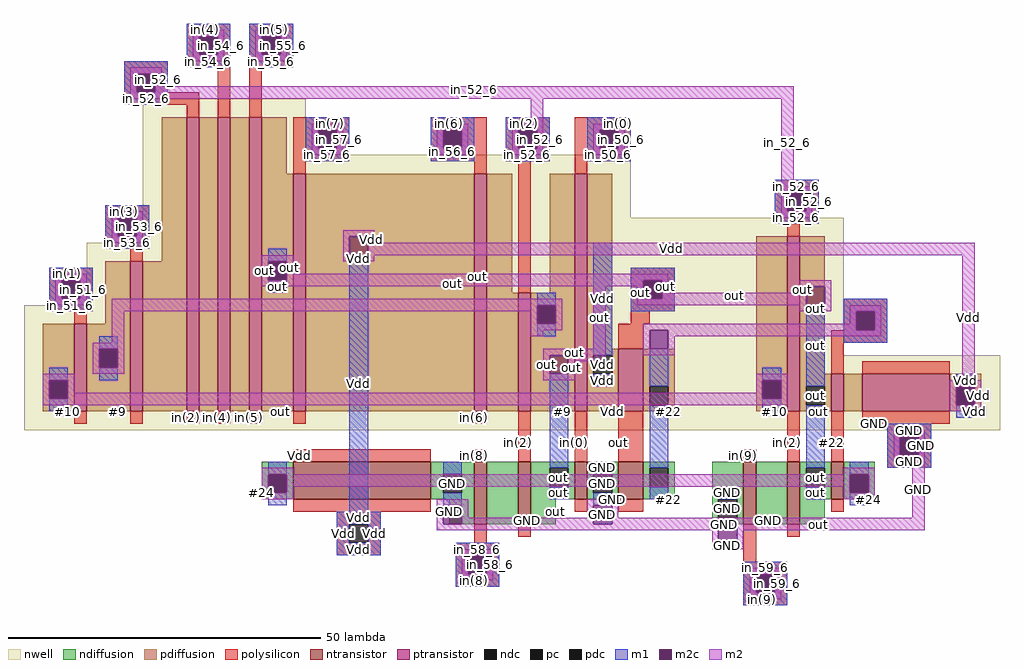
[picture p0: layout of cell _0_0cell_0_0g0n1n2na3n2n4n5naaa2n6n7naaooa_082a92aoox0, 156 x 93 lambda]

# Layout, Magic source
magic
tech sky130l
<< nwell >>
rect 24 77 50 86
rect 24 67 102 77
rect 24 63 136 67
rect 15 53 136 63
rect 5 45 136 53
rect 5 33 161 45
<< ndiffusion >>
rect 43 26 48 28
rect 43 23 44 26
rect 47 23 48 26
rect 43 22 48 23
rect 70 26 77 28
rect 70 23 72 26
rect 75 23 77 26
rect 70 22 77 23
rect 73 18 77 22
rect 79 18 84 28
rect 86 27 93 28
rect 86 24 89 27
rect 92 24 93 27
rect 86 22 93 24
rect 95 26 100 28
rect 95 23 96 26
rect 99 23 100 26
rect 95 22 100 23
rect 104 27 109 28
rect 104 24 105 27
rect 108 24 109 27
rect 104 22 109 24
rect 115 22 120 28
rect 86 18 90 22
rect 115 19 116 22
rect 119 19 120 22
rect 115 18 120 19
rect 122 18 127 28
rect 129 27 134 28
rect 129 24 130 27
rect 133 24 134 27
rect 129 22 134 24
rect 136 26 141 28
rect 136 23 137 26
rect 140 23 141 26
rect 136 22 141 23
rect 129 18 133 22
<< ndc >>
rect 44 23 47 26
rect 72 23 75 26
rect 89 24 92 27
rect 96 23 99 26
rect 105 24 108 27
rect 116 19 119 22
rect 130 24 133 27
rect 137 23 140 26
<< ntransistor >>
rect 48 22 70 28
rect 77 18 79 28
rect 84 18 86 28
rect 93 22 95 28
rect 100 22 104 28
rect 120 18 122 28
rect 127 18 129 28
rect 134 22 136 28
<< pdiffusion >>
rect 27 60 31 83
rect 18 50 22 60
rect 8 41 13 50
rect 8 38 9 41
rect 12 38 13 41
rect 8 36 13 38
rect 15 46 22 50
rect 15 43 17 46
rect 20 43 22 46
rect 15 36 22 43
rect 24 36 31 60
rect 33 36 36 83
rect 38 36 41 83
rect 43 74 47 83
rect 43 60 48 74
rect 43 57 44 60
rect 47 57 48 60
rect 43 36 48 57
rect 50 36 77 74
rect 79 55 83 74
rect 89 55 93 74
rect 79 36 84 55
rect 86 53 93 55
rect 86 50 87 53
rect 90 50 93 53
rect 86 36 93 50
rect 95 46 99 74
rect 95 45 100 46
rect 95 42 96 45
rect 99 42 100 45
rect 95 36 100 42
rect 104 40 109 46
rect 104 37 105 40
rect 108 37 109 40
rect 104 36 109 37
rect 122 41 127 64
rect 122 38 123 41
rect 126 38 127 41
rect 122 36 127 38
rect 129 42 133 64
rect 129 40 134 42
rect 129 37 130 40
rect 133 37 134 40
rect 129 36 134 37
rect 136 36 139 42
rect 153 40 158 42
rect 153 37 154 40
rect 157 37 158 40
rect 153 36 158 37
<< pdc >>
rect 9 38 12 41
rect 17 43 20 46
rect 44 57 47 60
rect 87 50 90 53
rect 96 42 99 45
rect 105 37 108 40
rect 123 38 126 41
rect 130 37 133 40
rect 154 37 157 40
<< ptransistor >>
rect 13 36 15 50
rect 22 36 24 60
rect 31 36 33 83
rect 36 36 38 83
rect 41 36 43 83
rect 48 36 50 74
rect 77 36 79 74
rect 84 36 86 55
rect 93 36 95 74
rect 100 36 104 46
rect 127 36 129 64
rect 134 36 136 42
rect 139 36 153 42
<< polysilicon >>
rect 31 96 38 98
rect 31 93 33 96
rect 36 93 38 96
rect 21 90 28 92
rect 31 91 38 93
rect 21 87 23 90
rect 26 87 28 90
rect 21 85 33 87
rect 31 83 33 85
rect 36 83 38 91
rect 41 96 48 98
rect 41 93 43 96
rect 46 93 48 96
rect 41 91 48 93
rect 41 83 43 91
rect 18 67 25 69
rect 18 64 20 67
rect 23 64 25 67
rect 18 62 25 64
rect 22 60 24 62
rect 9 57 16 59
rect 9 54 11 57
rect 14 54 16 57
rect 9 52 16 54
rect 13 50 15 52
rect 48 81 57 83
rect 48 78 52 81
rect 55 78 57 81
rect 48 76 57 78
rect 70 81 79 83
rect 70 78 72 81
rect 75 78 79 81
rect 70 76 79 78
rect 82 81 89 83
rect 82 78 84 81
rect 87 78 89 81
rect 82 76 89 78
rect 93 81 102 83
rect 93 78 97 81
rect 100 78 102 81
rect 93 76 102 78
rect 48 74 50 76
rect 77 74 79 76
rect 84 55 86 76
rect 93 74 95 76
rect 125 71 132 73
rect 125 68 127 71
rect 130 68 132 71
rect 125 66 132 68
rect 127 64 129 66
rect 102 57 109 59
rect 102 54 104 57
rect 107 54 109 57
rect 102 52 109 54
rect 102 50 105 52
rect 100 46 104 50
rect 136 52 143 54
rect 136 49 138 52
rect 141 49 143 52
rect 134 47 143 49
rect 134 42 136 47
rect 139 42 153 44
rect 13 34 15 36
rect 22 34 24 36
rect 31 34 33 36
rect 36 34 38 36
rect 41 34 43 36
rect 48 34 50 36
rect 77 34 79 36
rect 48 28 70 30
rect 77 28 79 30
rect 84 28 86 36
rect 93 28 95 36
rect 100 28 104 36
rect 120 28 122 30
rect 127 28 129 36
rect 134 28 136 36
rect 139 34 153 36
rect 143 32 150 34
rect 143 29 145 32
rect 148 29 150 32
rect 48 20 70 22
rect 55 18 62 20
rect 93 20 95 22
rect 100 20 104 22
rect 143 27 150 29
rect 134 20 136 22
rect 55 15 57 18
rect 60 15 62 18
rect 77 15 79 18
rect 84 16 86 18
rect 55 13 62 15
rect 74 13 81 15
rect 74 10 76 13
rect 79 10 81 13
rect 74 8 81 10
rect 120 12 122 18
rect 127 16 129 18
rect 120 10 127 12
rect 120 7 122 10
rect 125 7 127 10
rect 120 5 127 7
<< pc >>
rect 33 93 36 96
rect 23 87 26 90
rect 43 93 46 96
rect 20 64 23 67
rect 11 54 14 57
rect 52 78 55 81
rect 72 78 75 81
rect 84 78 87 81
rect 97 78 100 81
rect 127 68 130 71
rect 104 54 107 57
rect 138 49 141 52
rect 145 29 148 32
rect 57 15 60 18
rect 76 10 79 13
rect 122 7 125 10
<< m1 >>
rect 31 96 38 98
rect 31 93 33 96
rect 36 93 38 96
rect 21 90 28 92
rect 31 91 38 93
rect 41 96 48 98
rect 41 93 43 96
rect 46 93 48 96
rect 41 91 48 93
rect 21 87 23 90
rect 26 87 28 90
rect 21 85 28 87
rect 50 81 57 83
rect 50 78 52 81
rect 55 78 57 81
rect 50 76 57 78
rect 70 81 77 83
rect 70 78 72 81
rect 75 78 77 81
rect 70 76 77 78
rect 82 81 89 83
rect 82 78 84 81
rect 87 78 89 81
rect 82 76 89 78
rect 95 81 102 83
rect 95 78 97 81
rect 100 78 102 81
rect 95 76 102 78
rect 125 71 132 73
rect 18 67 25 69
rect 18 64 20 67
rect 23 64 25 67
rect 125 68 127 71
rect 130 68 132 71
rect 125 66 132 68
rect 18 62 25 64
rect 44 60 47 62
rect 9 57 16 59
rect 9 54 11 57
rect 14 54 16 57
rect 44 55 47 57
rect 9 52 16 54
rect 17 46 20 48
rect 9 41 12 43
rect 17 41 20 43
rect 9 36 12 38
rect 44 26 47 28
rect 44 21 47 23
rect 57 20 60 61
rect 87 53 90 55
rect 87 48 90 50
rect 96 45 99 63
rect 102 57 109 59
rect 102 54 104 57
rect 107 54 109 57
rect 102 52 109 54
rect 72 26 75 28
rect 72 21 75 23
rect 89 27 92 42
rect 96 40 99 42
rect 105 40 108 46
rect 89 22 92 24
rect 96 26 99 28
rect 55 18 62 20
rect 96 21 99 23
rect 105 27 108 37
rect 123 41 126 43
rect 123 36 126 38
rect 130 40 133 53
rect 136 52 143 54
rect 136 49 138 52
rect 141 49 143 52
rect 136 47 143 49
rect 130 27 133 37
rect 154 40 157 42
rect 154 35 157 37
rect 143 32 150 34
rect 143 29 145 32
rect 148 29 150 32
rect 105 22 108 24
rect 116 22 119 24
rect 130 22 133 24
rect 137 26 140 28
rect 143 27 150 29
rect 137 21 140 23
rect 116 18 119 19
rect 55 15 57 18
rect 60 15 62 18
rect 55 13 62 15
rect 74 13 81 15
rect 74 10 76 13
rect 79 10 81 13
rect 74 8 81 10
rect 120 10 127 12
rect 120 7 122 10
rect 125 7 127 10
rect 120 5 127 7
<< m2c >>
rect 33 93 36 96
rect 43 93 46 96
rect 23 87 26 90
rect 52 78 55 81
rect 72 78 75 81
rect 84 78 87 81
rect 97 78 100 81
rect 20 64 23 67
rect 127 68 130 71
rect 11 54 14 57
rect 44 57 47 60
rect 57 61 60 64
rect 17 43 20 46
rect 9 38 12 41
rect 44 23 47 26
rect 87 50 90 53
rect 104 54 107 57
rect 130 53 133 56
rect 89 42 92 45
rect 105 46 108 49
rect 72 18 75 21
rect 123 38 126 41
rect 138 49 141 52
rect 154 37 157 40
rect 145 29 148 32
rect 137 23 140 26
rect 96 18 99 21
rect 116 15 119 18
rect 76 10 79 13
rect 122 7 125 10
<< m2 >>
rect 32 96 37 97
rect 32 93 33 96
rect 36 93 37 96
rect 32 92 37 93
rect 42 96 47 97
rect 42 93 43 96
rect 46 93 47 96
rect 42 92 47 93
rect 22 90 27 91
rect 22 87 23 90
rect 26 88 27 90
rect 26 87 128 88
rect 22 86 128 87
rect 86 82 88 86
rect 51 81 56 82
rect 51 78 52 81
rect 55 78 56 81
rect 51 77 56 78
rect 71 81 76 82
rect 71 78 72 81
rect 75 78 76 81
rect 71 77 76 78
rect 83 81 88 82
rect 83 78 84 81
rect 87 78 88 81
rect 83 77 88 78
rect 96 81 101 82
rect 96 78 97 81
rect 100 78 101 81
rect 96 77 101 78
rect 126 72 128 86
rect 126 71 131 72
rect 126 68 127 71
rect 130 68 131 71
rect 19 67 24 68
rect 126 67 131 68
rect 19 64 20 67
rect 23 64 24 67
rect 19 63 24 64
rect 56 64 61 65
rect 56 61 57 64
rect 60 63 61 64
rect 60 61 157 63
rect 43 60 48 61
rect 56 60 61 61
rect 10 57 15 58
rect 10 54 11 57
rect 14 54 15 57
rect 43 57 44 60
rect 47 58 48 60
rect 47 57 108 58
rect 43 56 104 57
rect 10 53 15 54
rect 19 53 91 54
rect 19 52 87 53
rect 19 47 21 52
rect 86 50 87 52
rect 90 50 91 53
rect 86 49 91 50
rect 86 48 88 49
rect 16 46 21 47
rect 96 46 98 56
rect 103 54 104 56
rect 107 55 108 57
rect 129 56 134 57
rect 129 55 130 56
rect 107 54 130 55
rect 103 53 130 54
rect 133 53 134 56
rect 129 52 134 53
rect 137 52 142 53
rect 137 50 138 52
rect 16 43 17 46
rect 20 43 21 46
rect 16 42 21 43
rect 88 45 98 46
rect 104 49 138 50
rect 141 49 142 52
rect 104 46 105 49
rect 108 48 142 49
rect 108 46 109 48
rect 104 45 109 46
rect 88 42 89 45
rect 92 44 98 45
rect 92 42 93 44
rect 8 41 13 42
rect 88 41 93 42
rect 122 41 127 42
rect 155 41 157 61
rect 8 38 9 41
rect 12 39 13 41
rect 122 39 123 41
rect 12 38 123 39
rect 126 38 127 41
rect 8 37 127 38
rect 153 40 158 41
rect 153 37 154 40
rect 157 37 158 40
rect 153 36 158 37
rect 144 32 149 33
rect 144 29 145 32
rect 148 29 149 32
rect 144 28 149 29
rect 43 26 48 27
rect 136 26 141 27
rect 43 23 44 26
rect 47 24 137 26
rect 47 23 48 24
rect 43 22 48 23
rect 136 23 137 24
rect 140 23 141 26
rect 136 22 141 23
rect 71 21 76 22
rect 71 18 72 21
rect 75 19 76 21
rect 95 21 100 22
rect 95 19 96 21
rect 75 18 96 19
rect 99 19 100 21
rect 147 19 149 28
rect 99 18 149 19
rect 71 17 116 18
rect 115 15 116 17
rect 119 17 149 18
rect 119 15 120 17
rect 115 14 120 15
rect 75 13 80 14
rect 75 10 76 13
rect 79 10 80 13
rect 75 9 80 10
rect 121 10 126 11
rect 121 7 122 10
rect 125 7 126 10
rect 121 6 126 7
<< labels >>
flabel polysilicon 49 29 49 29 1 FreeSerif 8 0 0 0 Vdd
flabel ndiffusion 43 23 43 23 3 FreeSerif 8 0 0 0 #24
flabel ndiffusion 73 20 73 20 3 FreeSerif 8 0 0 0 GND
flabel polysilicon 77 29 77 29 3 FreeSerif 8 0 0 0 in(8)
flabel polysilicon 77 35 77 35 3 FreeSerif 8 0 0 0 in(6)
flabel ndiffusion 90 20 90 20 7 FreeSerif 8 0 0 0 out
flabel ndiffusion 108 22 108 22 1 FreeSerif 8 0 0 0 #22
flabel ndiffusion 99 22 99 22 1 FreeSerif 8 0 0 0 GND
flabel ndiffusion 117 18 117 18 1 FreeSerif 8 0 0 0 GND
flabel ndiffusion 132 18 132 18 1 FreeSerif 8 0 0 0 out
flabel ndiffusion 140 22 140 22 1 FreeSerif 8 0 0 0 #24
flabel pdiffusion 157 36 157 36 1 FreeSerif 8 0 0 0 Vdd
flabel polysilicon 141 34 141 34 1 FreeSerif 8 0 0 0 GND
flabel polysilicon 134 31 134 31 3 FreeSerif 8 0 0 0 #22
flabel polysilicon 127 31 127 31 3 FreeSerif 8 0 0 0 in(2)
flabel pdiffusion 132 36 132 36 1 FreeSerif 8 0 0 0 out
flabel pdiffusion 125 36 125 36 1 FreeSerif 8 0 0 0 #10
flabel polysilicon 120 29 120 29 1 FreeSerif 8 0 0 0 in(9)
flabel polysilicon 84 31 84 31 3 FreeSerif 8 0 0 0 in(2)
flabel polysilicon 93 31 93 31 3 FreeSerif 8 0 0 0 in(0)
flabel polysilicon 100 31 100 31 3 FreeSerif 8 0 0 0 out
flabel pdiffusion 108 36 108 36 1 FreeSerif 8 0 0 0 #22
flabel pdiffusion 99 36 99 36 1 FreeSerif 8 0 0 0 Vdd
flabel pdiffusion 91 36 91 36 1 FreeSerif 8 0 0 0 #9
flabel pdiffusion 46 36 46 36 1 FreeSerif 8 0 0 0 out
flabel pdiffusion 20 36 20 36 1 FreeSerif 8 0 0 0 #9
flabel pdiffusion 12 36 12 36 1 FreeSerif 8 0 0 0 #10
flabel polysilicon 31 35 31 35 3 FreeSerif 8 0 0 0 in(2)
flabel polysilicon 36 35 36 35 3 FreeSerif 8 0 0 0 in(4)
flabel polysilicon 41 35 41 35 3 FreeSerif 8 0 0 0 in(5)
flabel polysilicon 48 35 48 35 3 FreeSerif 8 0 0 0 in(7)
flabel polysilicon 13 35 13 35 3 FreeSerif 8 0 0 0 in(1)
flabel polysilicon 22 35 22 35 3 FreeSerif 8 0 0 0 in(3)
flabel m2 77 9 77 9 5 FreeSerif 8 0 0 0 in(8)
port 4 s
flabel m2 12 58 12 58 1 FreeSerif 8 0 0 0 in(1)
port 11 n
flabel m2 21 68 21 68 1 FreeSerif 8 0 0 0 in(3)
port 9 n
flabel m2 34 97 34 97 1 FreeSerif 8 0 0 0 in(4)
port 8 n
flabel m2 45 97 45 97 1 FreeSerif 8 0 0 0 in(5)
port 7 n
flabel m2 123 6 123 6 5 FreeSerif 8 0 0 0 in(9)
port 3 s
flabel m2 85 82 85 82 1 FreeSerif 8 0 0 0 in(2)
port 10 n
flabel m2 s 129 55 130 56 1 FreeSerif 8 0 0 0 out
port 12 nsew signal output
flabel m2 s 157 37 158 40 3 FreeSerif 8 0 0 0 Vdd
port 2 nsew power input
flabel m2 54 82 54 82 1 FreeSerif 8 0 0 0 in(7)
port 5 n
flabel m2 73 82 73 82 1 FreeSerif 8 0 0 0 in(6)
port 6 n
flabel m2 100 82 100 82 1 FreeSerif 8 0 0 0 in(0)
port 13 n
flabel m2 s 148 29 149 32 5 FreeSerif 8 0 0 0 GND
port 1 nsew ground input
rlabel m2 s 100 78 101 81 1 in_50_6
port 1 nsew signal input
rlabel m2 s 97 78 100 81 1 in_50_6
port 1 nsew signal input
rlabel m2 s 96 78 97 81 1 in_50_6
port 1 nsew signal input
rlabel m2 s 96 77 101 78 1 in_50_6
port 1 nsew signal input
rlabel m2 s 96 81 101 82 1 in_50_6
port 1 nsew signal input
rlabel m1 s 100 78 102 81 1 in_50_6
port 1 nsew signal input
rlabel m1 s 97 78 100 81 1 in_50_6
port 1 nsew signal input
rlabel m1 s 95 76 102 78 1 in_50_6
port 1 nsew signal input
rlabel m1 s 95 78 97 81 1 in_50_6
port 1 nsew signal input
rlabel m1 s 95 81 102 83 1 in_50_6
port 1 nsew signal input
rlabel m2 s 14 54 15 57 1 in_51_6
port 2 nsew signal input
rlabel m2 s 11 54 14 57 1 in_51_6
port 2 nsew signal input
rlabel m2 s 10 53 15 54 1 in_51_6
port 2 nsew signal input
rlabel m2 s 10 54 11 57 3 in_51_6
port 2 nsew signal input
rlabel m2 s 10 57 15 58 1 in_51_6
port 2 nsew signal input
rlabel m1 s 14 54 16 57 1 in_51_6
port 2 nsew signal input
rlabel m1 s 11 54 14 57 1 in_51_6
port 2 nsew signal input
rlabel m1 s 9 52 16 54 1 in_51_6
port 2 nsew signal input
rlabel m1 s 9 54 11 57 3 in_51_6
port 2 nsew signal input
rlabel m1 s 9 57 16 59 1 in_51_6
port 2 nsew signal input
rlabel m2 s 130 68 131 71 1 in_52_6
port 3 nsew signal input
rlabel m2 s 127 68 130 71 1 in_52_6
port 3 nsew signal input
rlabel m2 s 87 78 88 81 1 in_52_6
port 3 nsew signal input
rlabel m2 s 126 67 131 68 1 in_52_6
port 3 nsew signal input
rlabel m2 s 126 68 127 71 1 in_52_6
port 3 nsew signal input
rlabel m2 s 126 71 131 72 1 in_52_6
port 3 nsew signal input
rlabel m2 s 126 72 128 86 1 in_52_6
port 3 nsew signal input
rlabel m2 s 84 78 87 81 1 in_52_6
port 3 nsew signal input
rlabel m2 s 83 77 88 78 1 in_52_6
port 3 nsew signal input
rlabel m2 s 83 78 84 81 1 in_52_6
port 3 nsew signal input
rlabel m2 s 86 82 88 86 1 in_52_6
port 3 nsew signal input
rlabel m2 s 83 81 88 82 1 in_52_6
port 3 nsew signal input
rlabel m2 s 26 87 128 88 1 in_52_6
port 3 nsew signal input
rlabel m2 s 26 88 27 90 1 in_52_6
port 3 nsew signal input
rlabel m2 s 23 87 26 90 1 in_52_6
port 3 nsew signal input
rlabel m2 s 22 86 128 87 1 in_52_6
port 3 nsew signal input
rlabel m2 s 22 87 23 90 1 in_52_6
port 3 nsew signal input
rlabel m2 s 22 90 27 91 1 in_52_6
port 3 nsew signal input
rlabel m1 s 130 68 132 71 1 in_52_6
port 3 nsew signal input
rlabel m1 s 127 68 130 71 1 in_52_6
port 3 nsew signal input
rlabel m1 s 125 66 132 68 1 in_52_6
port 3 nsew signal input
rlabel m1 s 125 68 127 71 1 in_52_6
port 3 nsew signal input
rlabel m1 s 125 71 132 73 1 in_52_6
port 3 nsew signal input
rlabel m1 s 87 78 89 81 1 in_52_6
port 3 nsew signal input
rlabel m1 s 84 78 87 81 1 in_52_6
port 3 nsew signal input
rlabel m1 s 82 78 84 81 1 in_52_6
port 3 nsew signal input
rlabel m1 s 82 76 89 78 1 in_52_6
port 3 nsew signal input
rlabel m1 s 82 81 89 83 1 in_52_6
port 3 nsew signal input
rlabel m1 s 26 87 28 90 1 in_52_6
port 3 nsew signal input
rlabel m1 s 23 87 26 90 1 in_52_6
port 3 nsew signal input
rlabel m1 s 21 85 28 87 1 in_52_6
port 3 nsew signal input
rlabel m1 s 21 87 23 90 1 in_52_6
port 3 nsew signal input
rlabel m1 s 21 90 28 92 1 in_52_6
port 3 nsew signal input
rlabel m2 s 23 64 24 67 1 in_53_6
port 4 nsew signal input
rlabel m2 s 20 64 23 67 1 in_53_6
port 4 nsew signal input
rlabel m2 s 19 63 24 64 1 in_53_6
port 4 nsew signal input
rlabel m2 s 19 64 20 67 1 in_53_6
port 4 nsew signal input
rlabel m2 s 19 67 24 68 1 in_53_6
port 4 nsew signal input
rlabel m1 s 23 64 25 67 1 in_53_6
port 4 nsew signal input
rlabel m1 s 20 64 23 67 1 in_53_6
port 4 nsew signal input
rlabel m1 s 18 62 25 64 1 in_53_6
port 4 nsew signal input
rlabel m1 s 18 64 20 67 1 in_53_6
port 4 nsew signal input
rlabel m1 s 18 67 25 69 1 in_53_6
port 4 nsew signal input
rlabel m2 s 36 93 37 96 5 in_54_6
port 5 nsew signal input
rlabel m2 s 33 93 36 96 5 in_54_6
port 5 nsew signal input
rlabel m2 s 32 92 37 93 1 in_54_6
port 5 nsew signal input
rlabel m2 s 32 93 33 96 5 in_54_6
port 5 nsew signal input
rlabel m2 s 32 96 37 97 5 in_54_6
port 5 nsew signal input
rlabel m1 s 36 93 38 96 5 in_54_6
port 5 nsew signal input
rlabel m1 s 33 93 36 96 5 in_54_6
port 5 nsew signal input
rlabel m1 s 31 91 38 93 1 in_54_6
port 5 nsew signal input
rlabel m1 s 31 93 33 96 5 in_54_6
port 5 nsew signal input
rlabel m1 s 31 96 38 98 5 in_54_6
port 5 nsew signal input
rlabel m2 s 46 93 47 96 5 in_55_6
port 6 nsew signal input
rlabel m2 s 43 93 46 96 5 in_55_6
port 6 nsew signal input
rlabel m2 s 42 93 43 96 5 in_55_6
port 6 nsew signal input
rlabel m2 s 42 92 47 93 1 in_55_6
port 6 nsew signal input
rlabel m2 s 42 96 47 97 5 in_55_6
port 6 nsew signal input
rlabel m1 s 46 93 48 96 5 in_55_6
port 6 nsew signal input
rlabel m1 s 43 93 46 96 5 in_55_6
port 6 nsew signal input
rlabel m1 s 41 93 43 96 5 in_55_6
port 6 nsew signal input
rlabel m1 s 41 91 48 93 1 in_55_6
port 6 nsew signal input
rlabel m1 s 41 96 48 98 5 in_55_6
port 6 nsew signal input
rlabel m2 s 71 77 76 78 1 in_56_6
port 7 nsew signal input
rlabel m2 s 75 78 76 81 1 in_56_6
port 7 nsew signal input
rlabel m2 s 72 78 75 81 1 in_56_6
port 7 nsew signal input
rlabel m2 s 71 78 72 81 1 in_56_6
port 7 nsew signal input
rlabel m2 s 71 81 76 82 1 in_56_6
port 7 nsew signal input
rlabel m1 s 75 78 77 81 1 in_56_6
port 7 nsew signal input
rlabel m1 s 72 78 75 81 1 in_56_6
port 7 nsew signal input
rlabel m1 s 70 78 72 81 1 in_56_6
port 7 nsew signal input
rlabel m1 s 70 76 77 78 1 in_56_6
port 7 nsew signal input
rlabel m1 s 70 81 77 83 1 in_56_6
port 7 nsew signal input
rlabel m2 s 55 78 56 81 1 in_57_6
port 8 nsew signal input
rlabel m2 s 52 78 55 81 1 in_57_6
port 8 nsew signal input
rlabel m2 s 51 77 56 78 1 in_57_6
port 8 nsew signal input
rlabel m2 s 51 78 52 81 1 in_57_6
port 8 nsew signal input
rlabel m2 s 51 81 56 82 1 in_57_6
port 8 nsew signal input
rlabel m1 s 55 78 57 81 1 in_57_6
port 8 nsew signal input
rlabel m1 s 52 78 55 81 1 in_57_6
port 8 nsew signal input
rlabel m1 s 50 76 57 78 1 in_57_6
port 8 nsew signal input
rlabel m1 s 50 78 52 81 1 in_57_6
port 8 nsew signal input
rlabel m1 s 50 81 57 83 1 in_57_6
port 8 nsew signal input
rlabel m2 s 79 10 80 13 1 in_58_6
port 9 nsew signal input
rlabel m2 s 76 10 79 13 1 in_58_6
port 9 nsew signal input
rlabel m2 s 75 9 80 10 1 in_58_6
port 9 nsew signal input
rlabel m2 s 75 10 76 13 1 in_58_6
port 9 nsew signal input
rlabel m2 s 75 13 80 14 1 in_58_6
port 9 nsew signal input
rlabel m1 s 79 10 81 13 1 in_58_6
port 9 nsew signal input
rlabel m1 s 76 10 79 13 1 in_58_6
port 9 nsew signal input
rlabel m1 s 74 8 81 10 1 in_58_6
port 9 nsew signal input
rlabel m1 s 74 10 76 13 1 in_58_6
port 9 nsew signal input
rlabel m1 s 74 13 81 15 1 in_58_6
port 9 nsew signal input
rlabel m2 s 125 7 126 10 1 in_59_6
port 10 nsew signal input
rlabel m2 s 122 7 125 10 1 in_59_6
port 10 nsew signal input
rlabel m2 s 121 6 126 7 1 in_59_6
port 10 nsew signal input
rlabel m2 s 121 7 122 10 1 in_59_6
port 10 nsew signal input
rlabel m2 s 121 10 126 11 1 in_59_6
port 10 nsew signal input
rlabel m1 s 125 7 127 10 1 in_59_6
port 10 nsew signal input
rlabel m1 s 122 7 125 10 1 in_59_6
port 10 nsew signal input
rlabel m1 s 120 5 127 7 1 in_59_6
port 10 nsew signal input
rlabel m1 s 120 7 122 10 1 in_59_6
port 10 nsew signal input
rlabel m1 s 120 10 127 12 1 in_59_6
port 10 nsew signal input
rlabel m2 s 129 56 134 57 1 out
port 12 nsew signal output
rlabel m2 s 129 52 134 53 1 out
port 12 nsew signal output
rlabel m2 s 133 53 134 56 1 out
port 12 nsew signal output
rlabel m2 s 107 54 130 55 1 out
port 12 nsew signal output
rlabel m2 s 107 55 108 57 1 out
port 12 nsew signal output
rlabel m2 s 130 53 133 56 1 out
port 12 nsew signal output
rlabel m2 s 104 54 107 57 1 out
port 12 nsew signal output
rlabel m2 s 103 53 130 54 1 out
port 12 nsew signal output
rlabel m2 s 103 54 104 56 1 out
port 12 nsew signal output
rlabel m2 s 96 46 98 56 1 out
port 12 nsew signal output
rlabel m2 s 92 42 93 44 1 out
port 12 nsew signal output
rlabel m2 s 92 44 98 45 1 out
port 12 nsew signal output
rlabel m2 s 89 42 92 45 1 out
port 12 nsew signal output
rlabel m2 s 88 41 93 42 1 out
port 12 nsew signal output
rlabel m2 s 88 42 89 45 1 out
port 12 nsew signal output
rlabel m2 s 88 45 98 46 1 out
port 12 nsew signal output
rlabel m2 s 47 57 108 58 1 out
port 12 nsew signal output
rlabel m2 s 47 58 48 60 1 out
port 12 nsew signal output
rlabel m2 s 44 57 47 60 1 out
port 12 nsew signal output
rlabel m2 s 43 56 104 57 1 out
port 12 nsew signal output
rlabel m2 s 43 57 44 60 1 out
port 12 nsew signal output
rlabel m2 s 43 60 48 61 1 out
port 12 nsew signal output
rlabel m1 s 130 40 133 53 1 out
port 12 nsew signal output
rlabel m1 s 130 53 133 56 1 out
port 12 nsew signal output
rlabel m1 s 130 37 133 40 1 out
port 12 nsew signal output
rlabel m1 s 130 24 133 27 1 out
port 12 nsew signal output
rlabel m1 s 130 27 133 37 1 out
port 12 nsew signal output
rlabel m1 s 107 54 109 57 1 out
port 12 nsew signal output
rlabel m1 s 104 54 107 57 1 out
port 12 nsew signal output
rlabel m1 s 130 22 133 24 1 out
port 12 nsew signal output
rlabel m1 s 102 52 109 54 1 out
port 12 nsew signal output
rlabel m1 s 102 54 104 57 1 out
port 12 nsew signal output
rlabel m1 s 102 57 109 59 1 out
port 12 nsew signal output
rlabel m1 s 89 24 92 27 1 out
port 12 nsew signal output
rlabel m1 s 89 27 92 42 1 out
port 12 nsew signal output
rlabel m1 s 89 42 92 45 1 out
port 12 nsew signal output
rlabel m1 s 89 22 92 24 1 out
port 12 nsew signal output
rlabel m1 s 44 55 47 57 1 out
port 12 nsew signal output
rlabel m1 s 44 57 47 60 1 out
port 12 nsew signal output
rlabel m1 s 44 60 47 62 1 out
port 12 nsew signal output
rlabel m2 s 155 41 157 61 7 Vdd
port 2 nsew power input
rlabel m2 s 154 37 157 40 1 Vdd
port 2 nsew power input
rlabel m2 s 153 36 158 37 1 Vdd
port 2 nsew power input
rlabel m2 s 153 37 154 40 1 Vdd
port 2 nsew power input
rlabel m2 s 153 40 158 41 1 Vdd
port 2 nsew power input
rlabel m2 s 60 61 157 63 1 Vdd
port 2 nsew power input
rlabel m2 s 60 63 61 64 1 Vdd
port 2 nsew power input
rlabel m2 s 57 61 60 64 1 Vdd
port 2 nsew power input
rlabel m2 s 56 60 61 61 1 Vdd
port 2 nsew power input
rlabel m2 s 56 61 57 64 1 Vdd
port 2 nsew power input
rlabel m2 s 56 64 61 65 1 Vdd
port 2 nsew power input
rlabel m1 s 154 35 157 37 1 Vdd
port 2 nsew power input
rlabel m1 s 154 37 157 40 1 Vdd
port 2 nsew power input
rlabel m1 s 154 40 157 42 1 Vdd
port 2 nsew power input
rlabel m1 s 96 40 99 42 1 Vdd
port 2 nsew power input
rlabel m1 s 96 42 99 45 1 Vdd
port 2 nsew power input
rlabel m1 s 96 45 99 63 1 Vdd
port 2 nsew power input
rlabel m1 s 57 61 60 64 1 Vdd
port 2 nsew power input
rlabel m1 s 60 15 62 18 1 Vdd
port 2 nsew power input
rlabel m1 s 57 15 60 18 1 Vdd
port 2 nsew power input
rlabel m1 s 57 20 60 61 1 Vdd
port 2 nsew power input
rlabel m1 s 55 13 62 15 1 Vdd
port 2 nsew power input
rlabel m1 s 55 15 57 18 1 Vdd
port 2 nsew power input
rlabel m1 s 55 18 62 20 1 Vdd
port 2 nsew power input
rlabel m2 s 145 29 148 32 1 GND
port 1 nsew ground input
rlabel m2 s 147 19 149 28 1 GND
port 1 nsew ground input
rlabel m2 s 144 28 149 29 1 GND
port 1 nsew ground input
rlabel m2 s 144 29 145 32 1 GND
port 1 nsew ground input
rlabel m2 s 144 32 149 33 1 GND
port 1 nsew ground input
rlabel m2 s 119 15 120 17 1 GND
port 1 nsew ground input
rlabel m2 s 119 17 149 18 1 GND
port 1 nsew ground input
rlabel m2 s 116 15 119 18 1 GND
port 1 nsew ground input
rlabel m2 s 115 14 120 15 1 GND
port 1 nsew ground input
rlabel m2 s 115 15 116 17 1 GND
port 1 nsew ground input
rlabel m2 s 95 19 96 21 1 GND
port 1 nsew ground input
rlabel m2 s 95 21 100 22 1 GND
port 1 nsew ground input
rlabel m2 s 99 18 149 19 1 GND
port 1 nsew ground input
rlabel m2 s 99 19 100 21 1 GND
port 1 nsew ground input
rlabel m2 s 96 18 99 21 1 GND
port 1 nsew ground input
rlabel m2 s 75 18 96 19 1 GND
port 1 nsew ground input
rlabel m2 s 75 19 76 21 1 GND
port 1 nsew ground input
rlabel m2 s 72 18 75 21 1 GND
port 1 nsew ground input
rlabel m2 s 71 17 116 18 1 GND
port 1 nsew ground input
rlabel m2 s 71 18 72 21 1 GND
port 1 nsew ground input
rlabel m2 s 71 21 76 22 1 GND
port 1 nsew ground input
rlabel m1 s 148 29 150 32 1 GND
port 1 nsew ground input
rlabel m1 s 145 29 148 32 1 GND
port 1 nsew ground input
rlabel m1 s 143 27 150 29 1 GND
port 1 nsew ground input
rlabel m1 s 143 29 145 32 1 GND
port 1 nsew ground input
rlabel m1 s 143 32 150 34 1 GND
port 1 nsew ground input
rlabel m1 s 96 26 99 28 1 GND
port 1 nsew ground input
rlabel m1 s 116 22 119 24 1 GND
port 1 nsew ground input
rlabel m1 s 116 18 119 19 1 GND
port 1 nsew ground input
rlabel m1 s 116 19 119 22 1 GND
port 1 nsew ground input
rlabel m1 s 96 23 99 26 1 GND
port 1 nsew ground input
rlabel m1 s 116 15 119 18 1 GND
port 1 nsew ground input
rlabel m1 s 96 21 99 23 1 GND
port 1 nsew ground input
rlabel m1 s 96 18 99 21 1 GND
port 1 nsew ground input
rlabel m1 s 72 23 75 26 1 GND
port 1 nsew ground input
rlabel m1 s 72 26 75 28 1 GND
port 1 nsew ground input
rlabel m1 s 72 18 75 21 1 GND
port 1 nsew ground input
rlabel m1 s 72 21 75 23 1 GND
port 1 nsew ground input
<< properties >>
string FIXED_BBOX 0 0 168 100
string LEFclass CORE
string LEFsite CoreSite
string LEFsymmetry X Y
<< end >>
